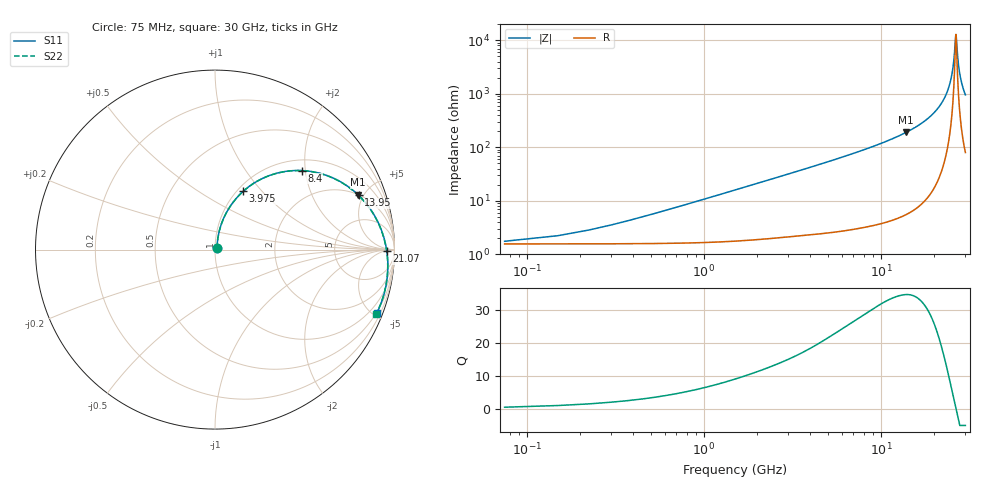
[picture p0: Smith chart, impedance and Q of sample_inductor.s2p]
#  Hz  S  RI  R  50
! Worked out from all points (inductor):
!   400 points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, 75 MHz to 30 GHz, reference 50 ohm
!   read as one part in series: L = 1.68 nH near 450 MHz
!   highest Q = 34.5 at 13.88 GHz (marker M1), where L = 2.18 nH
!   self-resonance near 26.48 GHz
!   S11 on the Smith chart (normalised r, x): 75 MHz: 1.02, +0.01; 3.975 GHz: 1.07, +0.80; 8.4 GHz: 1.24, +1.91; 13.95 GHz: 2.04, +4.60; 21.07 GHz: 44, -9; 30 GHz: 0.47, -5.25
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7.5e7  0.0112 0.00715  0.9804 -0.00818  0.9804 -0.00818  0.0112 0.00714
2.25e8  0.0117 0.0214  0.9798 -0.0245  0.9798 -0.0245  0.0117 0.0214
4.5e8  0.0133 0.0428  0.9779 -0.0489  0.9779 -0.0489  0.0133 0.0428
1.125e9  0.0244 0.1058  0.9649 -0.1203  0.9649 -0.1203  0.0244 0.1057
2.25e9  0.0622 0.2034  0.9228 -0.229  0.9228 -0.229  0.0622 0.2033
3.975e9  0.1572 0.3251  0.8246 -0.3631  0.8246 -0.3631  0.1573 0.3248
5.1e9  0.2353 0.3814  0.7463 -0.4284  0.7463 -0.4284  0.2355 0.381
8.4e9  0.4821 0.4405  0.4971 -0.5162  0.4971 -0.5162  0.4823 0.4398
1.005e10  0.595 0.4222  0.3828 -0.5118  0.3828 -0.5118  0.5952 0.4212
1.3875e10  0.7972 0.3055  0.1767 -0.4283  0.1767 -0.4283  0.7973 0.3039
1.395e10  0.8002 0.3026  0.1735 -0.426  0.1735 -0.426  0.8003 0.301
1.5075e10  0.8423 0.2568  0.1301 -0.39  0.1301 -0.39  0.8423 0.2551
2.0025e10  0.9487 0.0377  0.0167 -0.2142  0.0167 -0.2142  0.9482 0.0352
2.1075e10  0.9574 -0.00873  0.00629 -0.177  0.00629 -0.177  0.9568 -0.0114
2.3475e10  0.9628 -0.1116  -0.00353 -0.0955  -0.00353 -0.0955  0.9618 -0.1146
2.505e10  0.9569 -0.1753  -0.000847 -0.0456  -0.000847 -0.0456  0.9557 -0.1785
2.58e10  0.952 -0.2046  0.00262 -0.023  0.00262 -0.023  0.9506 -0.2078
2.655e10  0.9457 -0.2331  0.00737 -0.00118  0.00737 -0.00118  0.9442 -0.2365
2.7225e10  0.9389 -0.2582  0.0127 0.0177  0.0127 0.0177  0.9373 -0.2616
2.7825e10  0.932 -0.2799  0.0181 0.0339  0.0181 0.0339  0.9303 -0.2834
2.8725e10  0.9203 -0.3113  0.0275 0.0572  0.0275 0.0572  0.9184 -0.3148
3e10  0.9014 -0.3533  0.0431 0.0881  0.0431 0.0881  0.8992 -0.357
